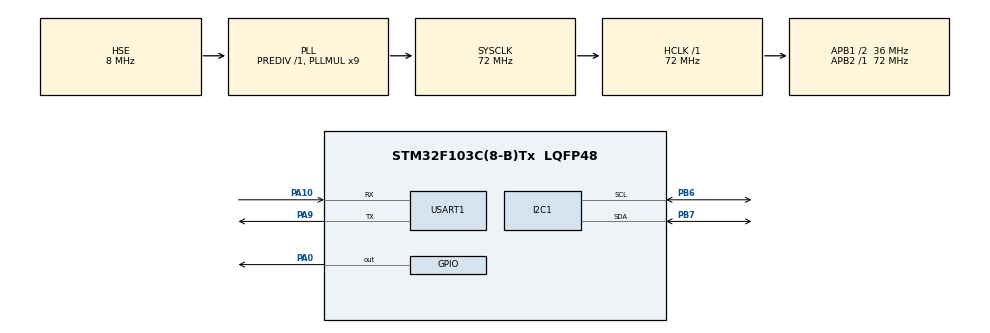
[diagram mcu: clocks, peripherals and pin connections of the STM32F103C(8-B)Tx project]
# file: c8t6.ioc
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Mcu.Family=STM32F1
Mcu.Name=STM32F103C(8-B)Tx
Mcu.Package=LQFP48
NVIC.PriorityGroup=NVIC_PRIORITYGROUP_4
NVIC.TIM1_UP_IRQn=true\:0\:0\:false\:false\:true\:true\:true
NVIC.USART1_IRQn=true\:0\:0\:false\:false\:true\:true\:true
PA0-WKUP.Signal=GPIO_Output
PA10.Mode=Asynchronous
PA10.Signal=USART1_RX
PA13.Mode=Serial_Wire
PA13.Signal=SYS_JTMS-SWDIO
PA14.Mode=Serial_Wire
PA14.Signal=SYS_JTCK-SWCLK
PA9.Mode=Asynchronous
PA9.Signal=USART1_TX
PB6.Mode=I2C
PB6.Signal=I2C1_SCL
PB7.Mode=I2C
PB7.Signal=I2C1_SDA
PD0-OSC_IN.Mode=HSE-External-Oscillator
PD0-OSC_IN.Signal=RCC_OSC_IN
PD1-OSC_OUT.Mode=HSE-External-Oscillator
PD1-OSC_OUT.Signal=RCC_OSC_OUT
ProjectManager.HeapSize=0x200
ProjectManager.StackSize=0x400
ProjectManager.TargetToolchain=MDK-ARM V5.32
RCC.AHBFreq_Value=72000000
RCC.APB1CLKDivider=RCC_HCLK_DIV2
RCC.APB1Freq_Value=36000000
RCC.APB1TimFreq_Value=72000000
RCC.APB2Freq_Value=72000000
RCC.APB2TimFreq_Value=72000000
RCC.HCLKFreq_Value=72000000
RCC.PLLMUL=RCC_PLL_MUL9
RCC.PLLSourceVirtual=RCC_PLLSOURCE_HSE
RCC.SYSCLKFreq_VALUE=72000000
RCC.SYSCLKSource=RCC_SYSCLKSOURCE_PLLCLK
RCC.USBFreq_Value=72000000
TIM1.AutoReloadPreload=TIM_AUTORELOAD_PRELOAD_ENABLE
TIM1.Period=2000-1
TIM1.Prescaler=36000-1
USART1.VirtualMode=VM_ASYNC
VP_TIM1_VS_ClockSourceINT.Mode=Internal
board=custom

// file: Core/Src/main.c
/* USER CODE BEGIN Header */
/**
 ******************************************************************************
 * @file           : main.c
 * @brief          : Main program body
 ******************************************************************************
 * @attention
 *
 * <h2><center>&copy; Copyright (c) 2021 STMicroelectronics.
 * All rights reserved.</center></h2>
 *
 * This software component is licensed by ST under BSD 3-Clause license,
 * the "License"; You may not use this file except in compliance with the
 * License. You may obtain a copy of the License at:
 *                        opensource.org/licenses/BSD-3-Clause
 *
 ******************************************************************************
 */
/* USER CODE END Header */
#include "main.h"

I2C_HandleTypeDef hi2c1;

TIM_HandleTypeDef htim1;

UART_HandleTypeDef huart1;

void SystemClock_Config(void);
static void MX_GPIO_Init(void);
static void MX_USART1_UART_Init(void);
static void MX_I2C1_Init(void);
static void MX_TIM1_Init(void);

/* USER CODE BEGIN 0 */
uint8_t RxBuff[1];
uint8_t DataBuff[5000];
uint8_t Data[5000];
int RxLine = 0, DataLine = 0;
int t_hour = 0, t_minute = 0, t_seconds = 0;

void print_time()
{
  int h1 = t_hour / 10;
  int h2 = t_hour % 10;
  int m1 = t_minute / 10;
  int m2 = t_minute % 10;
  int s1 = t_seconds / 10;
  int s2 = t_seconds % 10;
  uint8_t s[9];
  s[0] = h1 + '0';
  s[1] = h2 + '0';
  s[2] = ':';
  s[3] = m1 + '0';
  s[4] = m2 + '0';
  s[5] = ':';
  s[6] = s1 + '0';
  s[7] = s2 + '0';
  s[8] = '\0';
  SSD1306_Write_String(s);
}
void print_weather()
{
  int time_n = 0, k = 3;
  SSD1306_Clear();
  goto_xy(5, k);
  print_time();
  for (int i = 0; i < DataLine; i++)
  {
    if (Data[i] == ',')
    {
      time_n++;
      if (time_n > 2)
      {
        k--;
        goto_xy(5, k);
        continue;
      }
    }
    if (time_n > 2)
    {
      SSD1306_Write_Char(Data[i]);
    }
  }
  SSD1306_Update_Screen();
}
/* USER CODE END 0 */

int main(void)
{

  /* MCU Configuration--------------------------------------------------------*/

  /* Reset of all peripherals, Initializes the Flash interface and the Systick. */
  HAL_Init();

  /* Configure the system clock */
  SystemClock_Config();

  /* Initialize all configured peripherals */
  MX_GPIO_Init();
  MX_USART1_UART_Init();
  MX_I2C1_Init();
  MX_TIM1_Init();
  /* USER CODE BEGIN 2 */
  HAL_UART_Receive_IT(&huart1, (uint8_t *)RxBuff, 1);
  HAL_TIM_Base_Start_IT(&htim1);
  SSD1306_Init();
  SSD1306_Fill();
  SSD1306_Update_Screen();
  HAL_Delay(500);
  SSD1306_Clear();
  SSD1306_Update_Screen();
  SSD1306_Draw_Pixel(0, 0);
  SSD1306_Draw_Pixel(127, 0);
  SSD1306_Draw_Pixel(127, 31);
  SSD1306_Draw_Pixel(0, 31);
  SSD1306_Update_Screen();
  HAL_Delay(500);
  SSD1306_Clear();
  SSD1306_Update_Screen();
  goto_xy(10, 0);
  SSD1306_Write_String("lapis lazuli");
  goto_xy(0, 1);
  SSD1306_Write_String("LAPIS LAZULI");
  goto_xy(0, 2);
  SSD1306_Write_String("0 1 2 3 4 5 6 7 8 9");
  // goto_xy(0, 0);
  SSD1306_Draw_Pixel(2, 2);
  SSD1306_Draw_Pixel(1, 2);
  SSD1306_Draw_Pixel(1, 1);
  SSD1306_Draw_Pixel(2, 1);
  SSD1306_Update_Screen();
  HAL_Delay(1000);
  SSD1306_Clear();
  SSD1306_Update_Screen();
  /* USER CODE END 2 */

  /* Infinite loop */
  /* USER CODE BEGIN WHILE */
  while (1)
  {
    print_weather();
    /* USER CODE END WHILE */

  }
}

void SystemClock_Config(void)
{
  RCC_OscInitTypeDef RCC_OscInitStruct = {0};
  RCC_ClkInitTypeDef RCC_ClkInitStruct = {0};

  /** Initializes the RCC Oscillators according to the specified parameters
   * in the RCC_OscInitTypeDef structure.
   */
  RCC_OscInitStruct.OscillatorType = RCC_OSCILLATORTYPE_HSE;
  RCC_OscInitStruct.HSEState = RCC_HSE_ON;
  RCC_OscInitStruct.HSEPredivValue = RCC_HSE_PREDIV_DIV1;
  RCC_OscInitStruct.HSIState = RCC_HSI_ON;
  RCC_OscInitStruct.PLL.PLLState = RCC_PLL_ON;
  RCC_OscInitStruct.PLL.PLLSource = RCC_PLLSOURCE_HSE;
  RCC_OscInitStruct.PLL.PLLMUL = RCC_PLL_MUL9;
  if (HAL_RCC_OscConfig(&RCC_OscInitStruct) != HAL_OK)
  {
    Error_Handler();
  }
  /** Initializes the CPU, AHB and APB buses clocks
   */
  RCC_ClkInitStruct.ClockType = RCC_CLOCKTYPE_HCLK | RCC_CLOCKTYPE_SYSCLK | RCC_CLOCKTYPE_PCLK1 | RCC_CLOCKTYPE_PCLK2;
  RCC_ClkInitStruct.SYSCLKSource = RCC_SYSCLKSOURCE_PLLCLK;
  RCC_ClkInitStruct.AHBCLKDivider = RCC_SYSCLK_DIV1;
  RCC_ClkInitStruct.APB1CLKDivider = RCC_HCLK_DIV2;
  RCC_ClkInitStruct.APB2CLKDivider = RCC_HCLK_DIV1;

  if (HAL_RCC_ClockConfig(&RCC_ClkInitStruct, FLASH_LATENCY_2) != HAL_OK)
  {
    Error_Handler();
  }
}

static void MX_I2C1_Init(void)
{

  hi2c1.Instance = I2C1;
  hi2c1.Init.ClockSpeed = 100000;
  hi2c1.Init.DutyCycle = I2C_DUTYCYCLE_2;
  hi2c1.Init.OwnAddress1 = 0;
  hi2c1.Init.AddressingMode = I2C_ADDRESSINGMODE_7BIT;
  hi2c1.Init.DualAddressMode = I2C_DUALADDRESS_DISABLE;
  hi2c1.Init.OwnAddress2 = 0;
  hi2c1.Init.GeneralCallMode = I2C_GENERALCALL_DISABLE;
  hi2c1.Init.NoStretchMode = I2C_NOSTRETCH_DISABLE;
  if (HAL_I2C_Init(&hi2c1) != HAL_OK)
  {
    Error_Handler();
  }
}

static void MX_TIM1_Init(void)
{

  TIM_ClockConfigTypeDef sClockSourceConfig = {0};
  TIM_MasterConfigTypeDef sMasterConfig = {0};

  htim1.Instance = TIM1;
  htim1.Init.Prescaler = 36000 - 1;
  htim1.Init.CounterMode = TIM_COUNTERMODE_UP;
  htim1.Init.Period = 2000 - 1;
  htim1.Init.ClockDivision = TIM_CLOCKDIVISION_DIV1;
  htim1.Init.RepetitionCounter = 0;
  htim1.Init.AutoReloadPreload = TIM_AUTORELOAD_PRELOAD_ENABLE;
  if (HAL_TIM_Base_Init(&htim1) != HAL_OK)
  {
    Error_Handler();
  }
  sClockSourceConfig.ClockSource = TIM_CLOCKSOURCE_INTERNAL;
  if (HAL_TIM_ConfigClockSource(&htim1, &sClockSourceConfig) != HAL_OK)
  {
    Error_Handler();
  }
  sMasterConfig.MasterOutputTrigger = TIM_TRGO_RESET;
  sMasterConfig.MasterSlaveMode = TIM_MASTERSLAVEMODE_DISABLE;
  if (HAL_TIMEx_MasterConfigSynchronization(&htim1, &sMasterConfig) != HAL_OK)
  {
    Error_Handler();
  }
}

static void MX_USART1_UART_Init(void)
{

  huart1.Instance = USART1;
  huart1.Init.BaudRate = 115200;
  huart1.Init.WordLength = UART_WORDLENGTH_8B;
  huart1.Init.StopBits = UART_STOPBITS_1;
  huart1.Init.Parity = UART_PARITY_NONE;
  huart1.Init.Mode = UART_MODE_TX_RX;
  huart1.Init.HwFlowCtl = UART_HWCONTROL_NONE;
  huart1.Init.OverSampling = UART_OVERSAMPLING_16;
  if (HAL_UART_Init(&huart1) != HAL_OK)
  {
    Error_Handler();
  }
}

static void MX_GPIO_Init(void)
{
  GPIO_InitTypeDef GPIO_InitStruct = {0};

  /* GPIO Ports Clock Enable */
  __HAL_RCC_GPIOD_CLK_ENABLE();
  __HAL_RCC_GPIOA_CLK_ENABLE();
  __HAL_RCC_GPIOB_CLK_ENABLE();

  /*Configure GPIO pin Output Level */
  HAL_GPIO_WritePin(GPIOA, GPIO_PIN_0, GPIO_PIN_RESET);

  /*Configure GPIO pin : PA0 */
  GPIO_InitStruct.Pin = GPIO_PIN_0;
  GPIO_InitStruct.Mode = GPIO_MODE_OUTPUT_PP;
  GPIO_InitStruct.Pull = GPIO_NOPULL;
  GPIO_InitStruct.Speed = GPIO_SPEED_FREQ_LOW;
  HAL_GPIO_Init(GPIOA, &GPIO_InitStruct);
}

/* USER CODE BEGIN 4 */
void HAL_UART_RxCpltCallback(UART_HandleTypeDef *UartHandle)
{
  t_hour = 0;
  t_minute = 0;
  t_seconds = 0;
  int k = 3, timenum = 0;
  RxLine++;                         //每接收到�????个数据，进入回调数据长度�????1
  DataBuff[RxLine - 1] = RxBuff[0]; //把每次接收到的数据保存到缓存数组

  if (RxBuff[0] == '\n') //接收结束标志位，这个数据可以自定义，根据实际�????求，这里只做示例使用，不�????定是0xff
  {
    DataLine = RxLine - 1;
    memset(Data, 0, sizeof(Data));
    // SSD1306_Clear();
    // goto_xy(0, k);
    // printf("RXLen=%d\r\n", RxLine);
    for (int i = 0; i < RxLine - 1; i++)
    {
      Data[i] = DataBuff[i];
      if (DataBuff[i] == ',')
      {
        timenum++;
        if (timenum > 2)
        {
          k--;
          goto_xy(0, k);
          continue;
        }
      }
      if (timenum == 0 && DataBuff[i] != ',')
      {
        t_hour = t_hour * 10 + DataBuff[i] - '0';
      }
      else if (timenum == 1 && DataBuff[i] != ',')
      {
        t_minute = t_minute * 10 + DataBuff[i] - '0';
      }
      else if (timenum == 2 && DataBuff[i] != ',')
      {
        t_seconds = t_seconds * 10 + DataBuff[i] - '0';
      }
      // SSD1306_Write_Char(DataBuff[i]);
    }
    // �????�????printf("UART DataBuff[%d] = 0x%x\r\n", i, DataBuff[i]);
    // SSD1306_Update_Screen();
    memset(DataBuff, 0, sizeof(DataBuff)); //清空缓存数组
    RxLine = 0;                            //清空接收长度
  }

  RxBuff[0] = 0;
  HAL_UART_Receive_IT(&huart1, (uint8_t *)RxBuff, 1); //每接收一个数据，就打�????�????次串口中断接收，否则只会接收�????个数据就停止接收
}

void HAL_TIM_PeriodElapsedCallback(TIM_HandleTypeDef *htim)
{
  if (htim->Instance == htim1.Instance)
  {
    HAL_GPIO_TogglePin(GPIOA, GPIO_PIN_0);
    if (++t_seconds > 60)
    {
      t_seconds = 0;
      if (++t_minute > 60)
      {
        t_minute = 0;
        if (++t_hour >= 24)
        {
          t_hour = 0;
        }
      }
    }
  }
}
/* USER CODE END 4 */

void Error_Handler(void)
{
  __disable_irq();
  while (1)
  {
  }
}

/************************ (C) COPYRIGHT STMicroelectronics *****END OF FILE****/
